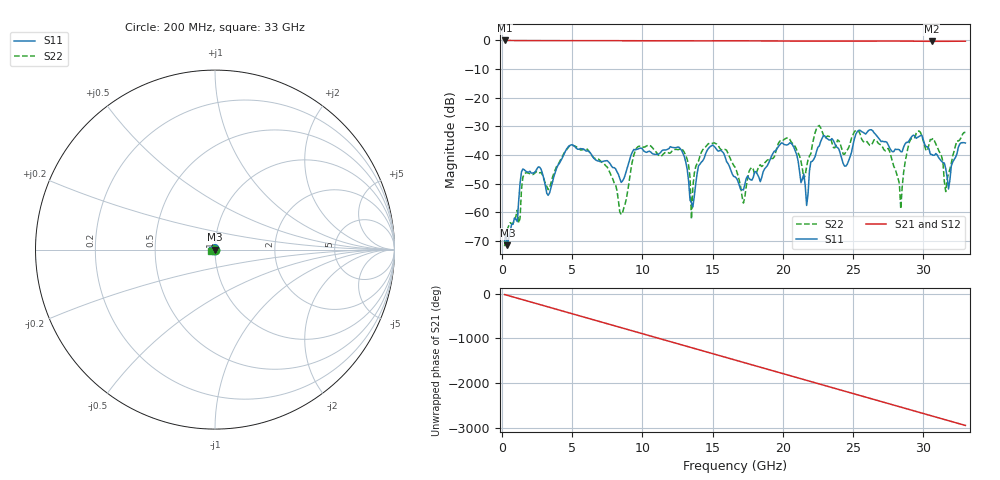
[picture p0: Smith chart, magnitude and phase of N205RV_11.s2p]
# GHZ S RI R 50
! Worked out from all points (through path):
!   329 points, 200 MHz to 33 GHz, reference 50 ohm
!   highest |S21| = -0.02 dB at 200 MHz (marker M1); lowest = -0.3 dB at 30.6 GHz (marker M2)
!   group delay of S21, straight-line fit = 248 ps
!   lowest |S11| = -71.6 dB at 400 MHz (marker M3), VSWR 1.00, Z = 50 + j0.0015 ohm
!   |S11| at or under -10 dB: start of sweep to end of sweep
!   |S22| runs from -71.8 to -29.7 dB; largest |S21 - S12| = 0.0019
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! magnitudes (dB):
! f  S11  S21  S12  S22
! 200 MHz  -69.9  0.0  0.0  -71.8
! 400 MHz  -71.6  0.0  0.0  -65.9
! 1.5 GHz  -44.9  -0.1  -0.1  -47.8
! 3.3 GHz  -54.1  -0.1  -0.1  -52.1
! 5.7 GHz  -37.9  -0.1  -0.1  -38.2
! 8.5 GHz  -49.6  -0.1  -0.1  -60.8
! 9.6 GHz  -38.1  -0.1  -0.1  -37.5
! 11.2 GHz  -39.5  -0.2  -0.2  -40.3
! 13 GHz  -40.7  -0.2  -0.2  -39.2
! 13.5 GHz  -56.7  -0.2  -0.2  -62.4
! 14.3 GHz  -42.0  -0.2  -0.2  -38.2
! 16.6 GHz  -47.6  -0.1  -0.1  -44.3
! 17.2 GHz  -52.2  -0.1  -0.1  -56.8
! 20.5 GHz  -35.7  -0.2  -0.2  -34.6
! 21.7 GHz  -57.6  -0.2  -0.2  -44.1
! 22.1 GHz  -42.2  -0.2  -0.2  -36.5
! 27.6 GHz  -37.5  -0.2  -0.2  -38.6
! 28.4 GHz  -38.8  -0.2  -0.2  -58.8
! 29 GHz  -34.9  -0.3  -0.3  -35.7
! 30.6 GHz  -39.8  -0.3  -0.3  -34.6
! 31.6 GHz  -44.8  -0.3  -0.3  -52.8
! 33 GHz  -35.8  -0.3  -0.3  -32.1
